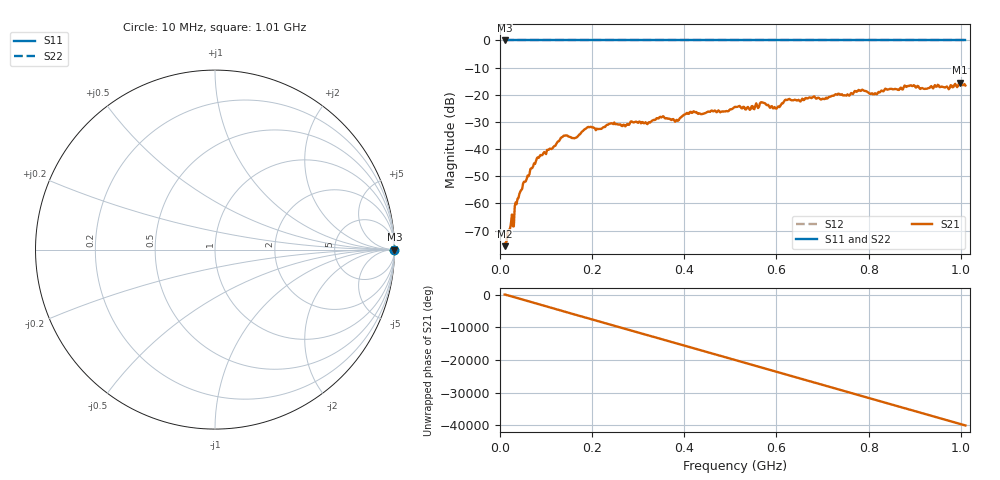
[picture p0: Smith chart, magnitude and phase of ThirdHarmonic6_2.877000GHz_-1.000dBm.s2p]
! 8/17/2025 7:52:56 AM
! C:\ANRITSUVNA\TEMP\TEMP.S2P
! CHANNEL.1
! TR.MEASUREMENT
! RAW.DATA
! RF.CORRECTION.OFF
! AVERAGING.OFF
! IF.BANDWIDTH: 5KHZ
! SWEEPTYPE:  FREQ.SWEEP(Linear)
! Reference Plane Port Info
! PORT:  PORT1  PORT2
! DISTANCE:  0  m  0  m
! TIME:  0  s  0  s
! PHASE.OFFSET:  0  deg.  0  deg.
! LOSS:  0  dB  0  dB
! REF.LOSS:  0  dB  0  dB
! REF.FREQ:  0  Hz  0  Hz
! Power Info
! POWER:  -20  dBm  -20  dBm
! EFF.POWER:  -20  dBm  -20  dBm
! SOURCE.ATTEN:  0  dB  0  dB
! TEST.ATTEN:  0  dB  0  dB
# GHZ S RI R 50.0
! FREQ.GHZ  S11RE  S11IM  S21RE  S21IM  S12RE  S12IM  S22RE  S22IM
!; PortSelection: Port_12
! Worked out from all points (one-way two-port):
!   501 points, 10 MHz to 1.01 GHz, reference 50 ohm
!   highest |S21| = -15.52 dB at 998 MHz (marker M1); lowest = -75.8 dB at 10 MHz (marker M2)
!   lowest |S11| = 0.0 dB at 10 MHz (marker M3)
!   |S11| at or under -10 dB: nowhere
!   |S22| runs from 0.0 to 0.0 dB; largest |S21 - S12| = 1.2
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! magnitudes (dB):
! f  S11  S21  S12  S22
! 10 MHz  0.0  -75.8  0.0  0.0
! 22 MHz  0.0  -69.1  0.0  0.0
! 26 MHz  0.0  -64.1  0.0  0.0
! 42 MHz  0.0  -56.6  0.0  0.0
! 78 MHz  0.0  -44.5  0.0  0.0
! 136 MHz  0.0  -35.5  0.0  0.0
! 162 MHz  0.0  -36.0  0.0  0.0
! 178 MHz  0.0  -33.6  0.0  0.0
! 194 MHz  0.0  -32.0  0.0  0.0
! 322 MHz  0.0  -30.3  0.0  0.0
! 344 MHz  0.0  -28.8  0.0  0.0
! 384 MHz  0.0  -29.2  0.0  0.0
! 416 MHz  0.0  -26.7  0.0  0.0
! 510 MHz  0.0  -24.5  0.0  0.0
! 548 MHz  0.0  -24.2  0.0  0.0
! 570 MHz  0.0  -22.8  0.0  0.0
! 596 MHz  0.0  -24.5  0.0  0.0
! 624 MHz  0.0  -21.9  0.0  0.0
! 678 MHz  0.0  -21.0  0.0  0.0
! 844 MHz  0.0  -18.0  0.0  0.0
! 998 MHz  0.0  -15.5  0.0  0.0
! 1.01 GHz  0.0  -16.6  0.0  0.0
